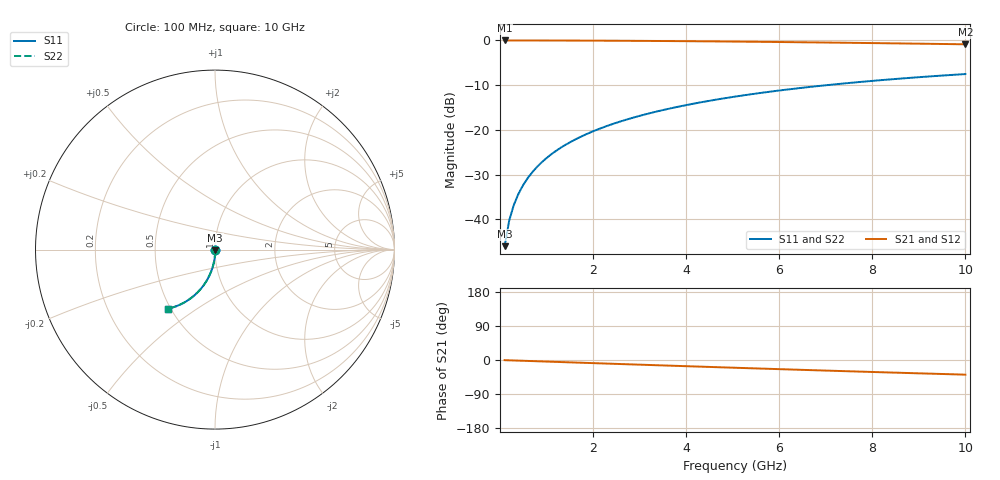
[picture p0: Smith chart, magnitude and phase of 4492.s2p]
# Hz S RI R 50.00
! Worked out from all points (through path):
!   100 points, 100 MHz to 10 GHz, reference 50 ohm
!   highest |S21| = -0.01 dB at 100 MHz (marker M1); lowest = -0.9 dB at 10 GHz (marker M2)
!   group delay of S21, straight-line fit = 10.8 ps
!   lowest |S11| = -46.0 dB at 100 MHz (marker M3), VSWR 1.01, Z = 50.1 - j0.488 ohm
!   |S11| at or under -10 dB: start of sweep to 7.02 GHz
!   |S22| runs from -46.0 to -7.5 dB; largest |S21 - S12| = 0
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1e8  0.00128 -0.00486  0.9986 -0.00719  0.9986 -0.00719  0.00128 -0.00486
2e8  0.00118 -0.00973  0.9985 -0.0144  0.9985 -0.0144  0.00118 -0.00973
3e8  0.00101 -0.0146  0.9983 -0.0216  0.9983 -0.0216  0.00101 -0.0146
4e8  0.000763 -0.0194  0.998 -0.0288  0.998 -0.0288  0.000763 -0.0194
5e8  0.000447 -0.0243  0.9977 -0.0359  0.9977 -0.0359  0.000447 -0.0243
6e8  6.12e-05 -0.0291  0.9973 -0.0431  0.9973 -0.0431  6.12e-05 -0.0291
7e8  -0.000394 -0.034  0.9968 -0.0503  0.9968 -0.0503  -0.000394 -0.034
8e8  -0.00092 -0.0388  0.9962 -0.0574  0.9962 -0.0574  -0.00092 -0.0388
9e8  -0.00151 -0.0436  0.9955 -0.0646  0.9955 -0.0646  -0.00151 -0.0436
1.1e9  -0.00291 -0.0532  0.994 -0.0789  0.994 -0.0789  -0.00291 -0.0532
1.4e9  -0.00552 -0.0675  0.9912 -0.1001  0.9912 -0.1001  -0.00552 -0.0675
1.8e9  -0.00994 -0.0864  0.9864 -0.1283  0.9864 -0.1283  -0.00994 -0.0864
2.1e9  -0.0139 -0.1003  0.9821 -0.1492  0.9821 -0.1492  -0.0139 -0.1003
2.5e9  -0.0202 -0.1184  0.9753 -0.1767  0.9753 -0.1767  -0.0202 -0.1184
2.9e9  -0.0274 -0.1362  0.9675 -0.2038  0.9675 -0.2038  -0.0274 -0.1362
3.4e9  -0.0378 -0.1576  0.9562 -0.2369  0.9562 -0.2369  -0.0378 -0.1576
4.2e9  -0.0572 -0.1899  0.9351 -0.2879  0.9351 -0.2879  -0.0572 -0.1899
5.1e9  -0.0827 -0.2228  0.9072 -0.342  0.9072 -0.342  -0.0827 -0.2228
5.9e9  -0.1082 -0.2489  0.8792 -0.3869  0.8792 -0.3869  -0.1082 -0.2489
6.7e9  -0.1359 -0.2716  0.8487 -0.4285  0.8487 -0.4285  -0.1359 -0.2716
8.4e9  -0.1993 -0.3086  0.7779 -0.5058  0.7779 -0.5058  -0.1993 -0.3086
1e10  -0.2618 -0.3294  0.7067 -0.5649  0.7067 -0.5649  -0.2618 -0.3294
